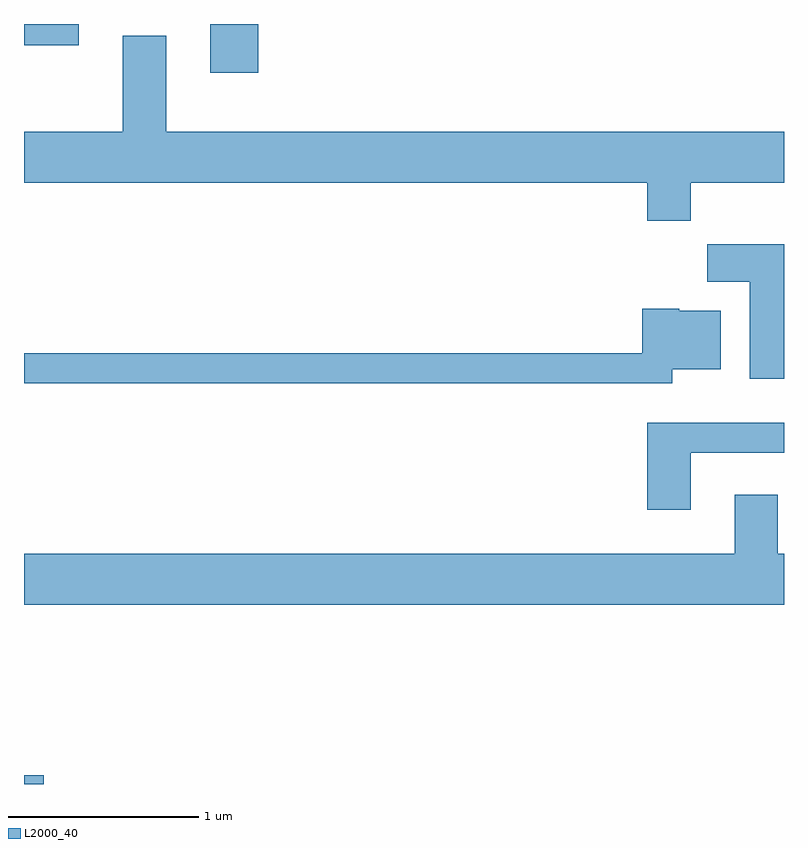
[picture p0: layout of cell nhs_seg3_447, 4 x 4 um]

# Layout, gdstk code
import gdstk
lib = gdstk.Library(unit=1e-6, precision=1e-09)
def R(c, l, rs):  # rectangles x0, y0, x1, y1
    for r in rs: c.add(gdstk.rectangle(r[:2], r[2:], *l))
def P(c, l, *ps):  # polygons
    for p in ps: c.add(gdstk.Polygon(p, *l))
L2000_40 = (2000, 40)

nhs_seg3_447 = lib.new_cell('nhs_seg3_447')
R(nhs_seg3_447, L2000_40, [(197.611,1193.892,197.714,1193.939), (198.591,1197.636,198.844,1197.892), (197.611,1197.781,197.899,1197.892)])
P(nhs_seg3_447, L2000_40, [(201.119,1197.056),(201.611,1197.056),(201.611,1197.324),(198.359,1197.324),(198.359,1197.829),(198.131,1197.829),(198.131,1197.324),(197.611,1197.324),(197.611,1197.056),(200.891,1197.056),(200.891,1196.856),(201.119,1196.856)],
  [(201.611,1196.734),(201.206,1196.734),(201.206,1196.536),(201.431,1196.536),(201.431,1196.026),(201.611,1196.026)],
  [(201.024,1196.076),(201.279,1196.076),(201.279,1196.384),(201.06,1196.384),(201.06,1196.394),(200.866,1196.394),(200.866,1196.159),(197.611,1196.159),(197.611,1196.001),(201.024,1196.001)],
  [(201.119,1195.636),(201.611,1195.636),(201.611,1195.794),(200.891,1195.794),(200.891,1195.336),(201.119,1195.336)],
  [(201.611,1195.104),(201.579,1195.104),(201.579,1195.414),(201.351,1195.414),(201.351,1195.104),(197.611,1195.104),(197.611,1194.836),(201.611,1194.836)])

lib.write_gds('nhs_seg3_447.gds')
